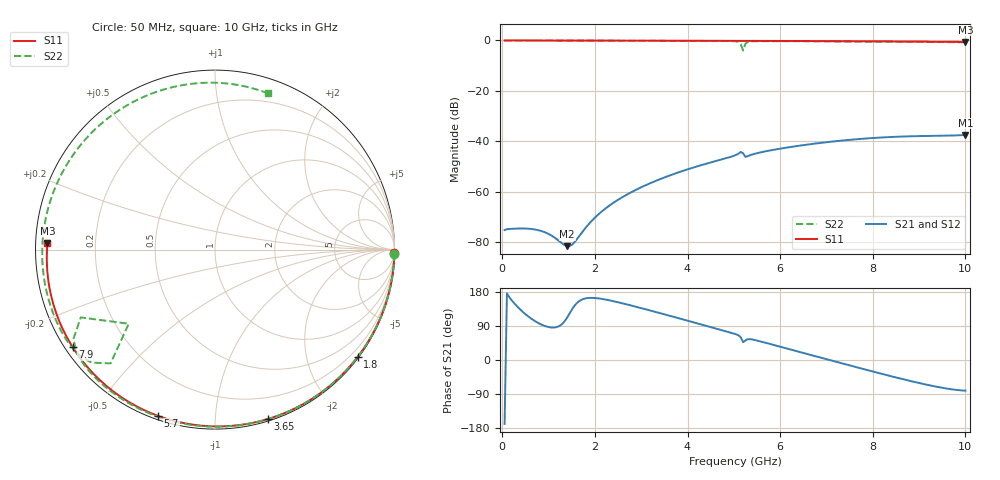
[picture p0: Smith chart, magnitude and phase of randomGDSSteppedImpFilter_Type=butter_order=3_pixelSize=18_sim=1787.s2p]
! freq	dB(S11)	phase(S11)	dB(S12)	phase(S12)
!  dB(S21)	phase(S21)	dB(S22)	phase(S22)
!S-par simulation data
#  GHz  S  DB  R 50
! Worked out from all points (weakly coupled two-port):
!   200 points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, 50 MHz to 10 GHz, reference 50 ohm
!   highest |S21| = -37.45 dB at 10 GHz (marker M1); lowest = -81.5 dB at 1.4 GHz (marker M2)
!   lowest |S11| = -0.6 dB at 10 GHz (marker M3), VSWR 29.35, Z = 1.7 + j0.977 ohm
!   |S11| at or under -10 dB: nowhere
!   |S22| runs from -4.0 to 0.0 dB; largest |S21 - S12| = 0
!   S11 on the Smith chart (normalised r, x): 50 MHz: open; 1.8 GHz: 0.03, -2.99; 3.65 GHz: 0.02, -1.36; 5.7 GHz: 0.02, -0.71; 7.9 GHz: 0.02, -0.31; 10 GHz: 0.03, +0.02
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0.05  -0.00 -1.0  -75.14 -168.6  -75.14 -168.6  -0.00 -1.5
0.75  -0.02 -15.6  -75.07 99.4  -75.07 99.4  -0.02 -22.7
1.25  -0.03 -25.9  -79.82 90.9  -79.82 90.9  -0.05 -37.5
1.4  -0.04 -28.9  -81.52 111.8  -81.52 111.8  -0.05 -41.9
1.55  -0.04 -32.0  -80.14 141.7  -80.14 141.7  -0.06 -46.2
1.75  -0.05 -36.0  -75.35 161.0  -75.35 161.0  -0.07 -52.0
1.8  -0.05 -37.0  -74.20 162.7  -74.20 162.7  -0.07 -53.4
2.45  -0.06 -49.9  -63.72 153.8  -63.72 153.8  -0.09 -71.7
3.4  -0.09 -68.0  -55.01 123.9  -55.01 123.9  -0.12 -97.3
3.65  -0.10 -72.7  -53.27 115.6  -53.27 115.6  -0.13 -103.8
4.55  -0.13 -89.0  -48.09 85.1  -48.09 85.1  -0.18 -127.4
5.05  -0.15 -97.7  -45.35 67.7  -45.35 67.7  -0.39 -144.1
5.15  -0.15 -99.5  -44.18 59.8  -44.18 59.8  -1.54 -153.2
5.2  -0.16 -100.3  -44.71 47.0  -44.71 47.0  -3.96 -139.3
5.25  -0.16 -101.2  -46.14 51.6  -46.14 51.6  -1.30 -132.5
5.35  -0.16 -102.9  -45.48 55.0  -45.48 55.0  -0.42 -140.8
5.7  -0.18 -108.9  -43.88 45.0  -43.88 45.0  -0.27 -153.2
6.7  -0.24 -125.7  -40.99 12.0  -40.99 12.0  -0.33 179.9
7.9  -0.34 -145.6  -38.79 -27.1  -38.79 -27.1  -0.44 145.7
8.35  -0.39 -153.2  -38.29 -41.4  -38.29 -41.4  -0.49 131.7
9.25  -0.49 -168.7  -37.82 -67.5  -37.82 -67.5  -0.59 100.8
10  -0.59 177.8  -37.45 -80.8  -37.45 -80.8  -0.73 71.4
